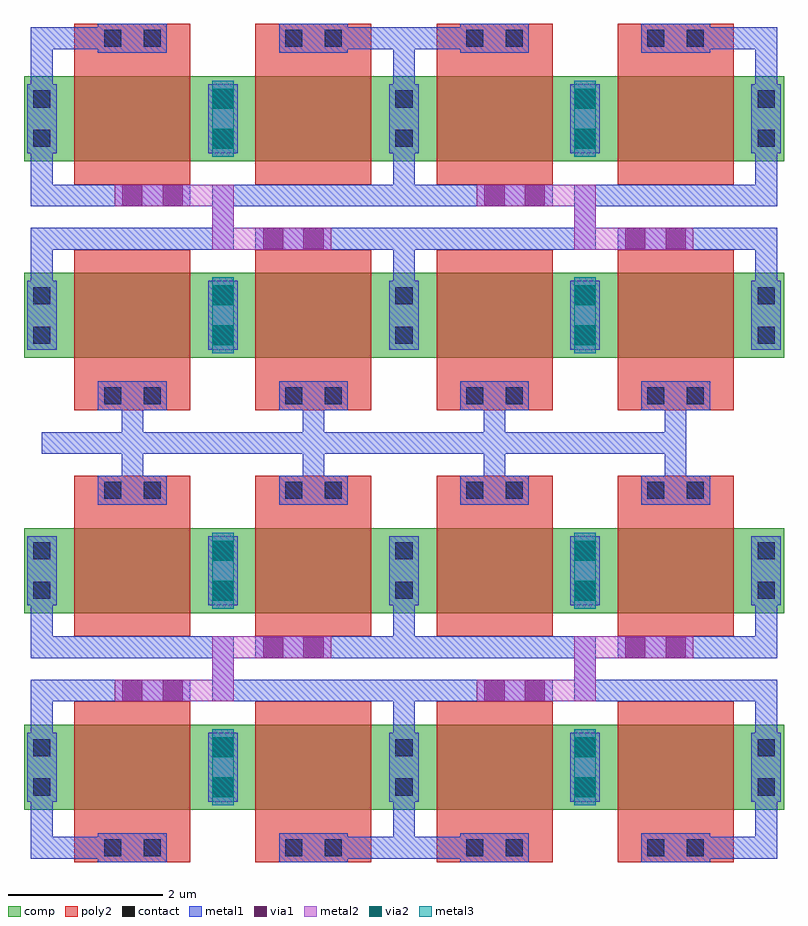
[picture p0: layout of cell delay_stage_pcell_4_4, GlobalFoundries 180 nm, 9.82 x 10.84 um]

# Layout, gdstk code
from math import pi, radians
import gdstk
lib = gdstk.Library(unit=1e-6, precision=5e-09)
def R(c, l, rs):  # rectangles x0, y0, x1, y1
    for r in rs: c.add(gdstk.rectangle(r[:2], r[2:], *l))
comp = (22, 0)
poly2 = (30, 0)
contact = (33, 0)
metal1 = (34, 0)
via1 = (35, 0)
metal2 = (36, 0)
via2 = (38, 0)
metal3 = (42, 0)

delay_stage_pcell_1_2 = lib.new_cell('delay_stage_pcell_1$2')
R(delay_stage_pcell_1_2, comp, [(0.17,0.3,0.63,1.4), (0.63,0.3,2.51,1.4), (2.51,0.3,2.97,1.4)])
R(delay_stage_pcell_1_2, poly2, [(0.82,0,2.32,1.7)])
R(delay_stage_pcell_1_2, contact, [(0.29,0.485,0.51,0.705), (2.63,0.485,2.85,0.705), (0.29,0.995,0.51,1.215), (2.63,0.995,2.85,1.215)])
R(delay_stage_pcell_1_2, metal1, [(0.21,0.405,0.59,1.295), (2.55,0.405,2.93,1.295)])

delay_stage_pcell_4 = lib.new_cell('delay_stage_pcell_4')
delay_stage_pcell_4.add(gdstk.Reference(delay_stage_pcell_1_2, (-0.17,0)))
delay_stage_pcell_4.add(gdstk.Reference(delay_stage_pcell_1_2, (2.17,0)))
delay_stage_pcell_4.add(gdstk.Reference(delay_stage_pcell_1_2, (4.51,0)))
delay_stage_pcell_4.add(gdstk.Reference(delay_stage_pcell_1_2, (6.85,0)))

delay_stage_pcell_4_4 = lib.new_cell('delay_stage_pcell_4_4')
R(delay_stage_pcell_4_4, poly2, [(0.65,0,2.15,0.38), (0.65,0,2.15,0.38), (2.99,0,4.49,0.38), (2.99,0,4.49,0.38), (5.33,0,6.83,0.38), (5.33,0,6.83,0.38), (7.67,0,9.17,0.38), (7.67,0,9.17,0.38), (0.65,4.62,2.15,5), (0.65,4.62,2.15,5), (2.99,4.62,4.49,5), (2.99,4.62,4.49,5), (5.33,4.62,6.83,5), (5.33,4.62,6.83,5), (7.67,4.62,9.17,5), (7.67,4.62,9.17,5), (0.65,5.84,2.15,6.22), (0.65,5.84,2.15,6.22), (2.99,5.84,4.49,6.22), (2.99,5.84,4.49,6.22), (5.33,5.84,6.83,6.22), (5.33,5.84,6.83,6.22), (7.67,5.84,9.17,6.22), (7.67,5.84,9.17,6.22), (0.65,10.46,2.15,10.84), (0.65,10.46,2.15,10.84), (2.99,10.46,4.49,10.84), (2.99,10.46,4.49,10.84), (5.33,10.46,6.83,10.84), (5.33,10.46,6.83,10.84), (7.67,10.46,9.17,10.84), (7.67,10.46,9.17,10.84)])
R(delay_stage_pcell_4_4, contact, [(1.035,0.08,1.255,0.3), (1.035,0.08,1.255,0.3), (1.545,0.08,1.765,0.3), (1.545,0.08,1.765,0.3), (3.375,0.08,3.595,0.3), (3.375,0.08,3.595,0.3), (3.885,0.08,4.105,0.3), (3.885,0.08,4.105,0.3), (5.715,0.08,5.935,0.3), (5.715,0.08,5.935,0.3), (6.225,0.08,6.445,0.3), (6.225,0.08,6.445,0.3), (8.055,0.08,8.275,0.3), (8.055,0.08,8.275,0.3), (8.565,0.08,8.785,0.3), (8.565,0.08,8.785,0.3), (1.035,4.7,1.255,4.92), (1.035,4.7,1.255,4.92), (1.545,4.7,1.765,4.92), (1.545,4.7,1.765,4.92), (3.375,4.7,3.595,4.92), (3.375,4.7,3.595,4.92), (3.885,4.7,4.105,4.92), (3.885,4.7,4.105,4.92), (5.715,4.7,5.935,4.92), (5.715,4.7,5.935,4.92), (6.225,4.7,6.445,4.92), (6.225,4.7,6.445,4.92), (8.055,4.7,8.275,4.92), (8.055,4.7,8.275,4.92), (8.565,4.7,8.785,4.92), (8.565,4.7,8.785,4.92), (1.035,5.92,1.255,6.14), (1.035,5.92,1.255,6.14), (1.545,5.92,1.765,6.14), (1.545,5.92,1.765,6.14), (3.375,5.92,3.595,6.14), (3.375,5.92,3.595,6.14), (3.885,5.92,4.105,6.14), (3.885,5.92,4.105,6.14), (5.715,5.92,5.935,6.14), (5.715,5.92,5.935,6.14), (6.225,5.92,6.445,6.14), (6.225,5.92,6.445,6.14), (8.055,5.92,8.275,6.14), (8.055,5.92,8.275,6.14), (8.565,5.92,8.785,6.14), (8.565,5.92,8.785,6.14), (1.035,10.54,1.255,10.76), (1.035,10.54,1.255,10.76), (1.545,10.54,1.765,10.76), (1.545,10.54,1.765,10.76), (3.375,10.54,3.595,10.76), (3.375,10.54,3.595,10.76), (3.885,10.54,4.105,10.76), (3.885,10.54,4.105,10.76), (5.715,10.54,5.935,10.76), (5.715,10.54,5.935,10.76), (6.225,10.54,6.445,10.76), (6.225,10.54,6.445,10.76), (8.055,10.54,8.275,10.76), (8.055,10.54,8.275,10.76), (8.565,10.54,8.785,10.76), (8.565,10.54,8.785,10.76)])
R(delay_stage_pcell_4_4, metal1, [(0.955,0,1.845,0.38), (3.295,0,4.185,0.38), (3.295,0,4.185,0.38), (5.635,0,6.525,0.38), (5.635,0,6.525,0.38), (7.975,0,8.865,0.38), (0.955,4.62,1.845,5), (0.955,4.62,1.845,5), (3.295,4.62,4.185,5), (3.295,4.62,4.185,5), (5.635,4.62,6.525,5), (5.635,4.62,6.525,5), (7.975,4.62,8.865,5), (0.955,5.84,1.845,6.22), (0.955,5.84,1.845,6.22), (3.295,5.84,4.185,6.22), (3.295,5.84,4.185,6.22), (5.635,5.84,6.525,6.22), (5.635,5.84,6.525,6.22), (7.975,5.84,8.865,6.22), (7.975,5.84,8.865,6.22), (0.955,10.46,1.845,10.84), (3.295,10.46,4.185,10.84), (3.295,10.46,4.185,10.84), (5.635,10.46,6.525,10.84), (5.635,10.46,6.525,10.84), (7.975,10.46,8.865,10.84)])
R(delay_stage_pcell_4_4, via1, [(2.44,0.84,2.7,1.1), (7.12,0.84,7.38,1.1), (2.44,1.36,2.7,1.62), (7.12,1.36,7.38,1.62), (1.27,2.09,1.53,2.35), (1.27,2.09,1.53,2.35), (1.79,2.09,2.05,2.35), (1.79,2.09,2.05,2.35), (5.95,2.09,6.21,2.35), (5.95,2.09,6.21,2.35), (6.47,2.09,6.73,2.35), (6.47,2.09,6.73,2.35), (3.09,2.65,3.35,2.91), (3.09,2.65,3.35,2.91), (3.61,2.65,3.87,2.91), (3.61,2.65,3.87,2.91), (7.77,2.65,8.03,2.91), (7.77,2.65,8.03,2.91), (8.29,2.65,8.55,2.91), (8.29,2.65,8.55,2.91), (2.44,3.38,2.7,3.64), (7.12,3.38,7.38,3.64), (2.44,3.9,2.7,4.16), (7.12,3.9,7.38,4.16), (2.44,6.68,2.7,6.94), (7.12,6.68,7.38,6.94), (2.44,7.2,2.7,7.46), (7.12,7.2,7.38,7.46), (3.09,7.93,3.35,8.19), (3.09,7.93,3.35,8.19), (3.61,7.93,3.87,8.19), (3.61,7.93,3.87,8.19), (7.77,7.93,8.03,8.19), (7.77,7.93,8.03,8.19), (8.29,7.93,8.55,8.19), (8.29,7.93,8.55,8.19), (1.27,8.49,1.53,8.75), (1.27,8.49,1.53,8.75), (1.79,8.49,2.05,8.75), (1.79,8.49,2.05,8.75), (5.95,8.49,6.21,8.75), (5.95,8.49,6.21,8.75), (6.47,8.49,6.73,8.75), (6.47,8.49,6.73,8.75), (2.44,9.22,2.7,9.48), (7.12,9.22,7.38,9.48), (2.44,9.74,2.7,10), (7.12,9.74,7.38,10)])
R(delay_stage_pcell_4_4, via2, [(2.44,0.84,2.7,1.1), (7.12,0.84,7.38,1.1), (2.44,1.36,2.7,1.62), (7.12,1.36,7.38,1.62), (2.44,3.38,2.7,3.64), (7.12,3.38,7.38,3.64), (2.44,3.9,2.7,4.16), (7.12,3.9,7.38,4.16), (2.44,6.68,2.7,6.94), (7.12,6.68,7.38,6.94), (2.44,7.2,2.7,7.46), (7.12,7.2,7.38,7.46), (2.44,9.22,2.7,9.48), (7.12,9.22,7.38,9.48), (2.44,9.74,2.7,10), (7.12,9.74,7.38,10)])
delay_stage_pcell_4_4.add(gdstk.FlexPath([(8.56,5.42),(0.23,5.42)], 0.28, ends="flush", simple_path=True, layer=34, datatype=0))  # metal1
delay_stage_pcell_4_4.add(gdstk.FlexPath([(4.185,10.65),(5.635,10.65)], 0.28, ends="flush", simple_path=True, layer=34, datatype=0))  # metal1
delay_stage_pcell_4_4.add(gdstk.FlexPath([(4.91,10.055),(4.91,10.51)], 0.28, ends="flush", simple_path=True, layer=34, datatype=0))  # metal1
delay_stage_pcell_4_4.add(gdstk.FlexPath([(0.955,10.65),(0.23,10.65),(0.23,10.055)], 0.28, ends="flush", simple_path=True, layer=34, datatype=0))  # metal1
delay_stage_pcell_4_4.add(gdstk.FlexPath([(8.865,10.65),(9.59,10.65),(9.59,10.055)], 0.28, ends="flush", simple_path=True, layer=34, datatype=0))  # metal1
delay_stage_pcell_4_4.add(gdstk.FlexPath([(4.185,0.19),(5.635,0.19)], 0.28, ends="flush", simple_path=True, layer=34, datatype=0))  # metal1
delay_stage_pcell_4_4.add(gdstk.FlexPath([(4.91,0.785),(4.91,0.33)], 0.28, ends="flush", simple_path=True, layer=34, datatype=0))  # metal1
delay_stage_pcell_4_4.add(gdstk.FlexPath([(0.955,0.19),(0.23,0.19),(0.23,0.785)], 0.28, ends="flush", simple_path=True, layer=34, datatype=0))  # metal1
delay_stage_pcell_4_4.add(gdstk.FlexPath([(8.865,0.19),(9.59,0.19),(9.59,0.785)], 0.28, ends="flush", simple_path=True, layer=34, datatype=0))  # metal1
delay_stage_pcell_4_4.add(gdstk.FlexPath([(9.59,1.675),(9.59,2.22),(8.65,2.22)], 0.28, ends="flush", simple_path=True, layer=34, datatype=0))  # metal1
delay_stage_pcell_4_4.add(gdstk.FlexPath([(9.59,1.675),(9.59,2.22),(8.65,2.22)], 0.28, ends="flush", simple_path=True, layer=34, datatype=0))  # metal1
delay_stage_pcell_4_4.add(gdstk.FlexPath([(4.91,1.675),(4.91,2.08)], 0.28, ends="flush", simple_path=True, layer=34, datatype=0))  # metal1
delay_stage_pcell_4_4.add(gdstk.FlexPath([(4.91,1.675),(4.91,2.08)], 0.28, ends="flush", simple_path=True, layer=34, datatype=0))  # metal1
delay_stage_pcell_4_4.add(gdstk.FlexPath([(0.23,1.675),(0.23,2.22),(1.17,2.22)], 0.28, ends="flush", simple_path=True, layer=34, datatype=0))  # metal1
delay_stage_pcell_4_4.add(gdstk.FlexPath([(0.23,1.675),(0.23,2.22),(1.17,2.22)], 0.28, ends="flush", simple_path=True, layer=34, datatype=0))  # metal1
delay_stage_pcell_4_4.add(gdstk.FlexPath([(8.65,2.22),(7.25,2.22),(7.25,2.78),(5.85,2.78)], 0.28, ends="flush", simple_path=True, layer=34, datatype=0))  # metal1
delay_stage_pcell_4_4.add(gdstk.FlexPath([(8.65,2.22),(7.25,2.22),(7.25,2.78),(5.85,2.78)], 0.28, ends="flush", simple_path=True, layer=34, datatype=0))  # metal1
delay_stage_pcell_4_4.add(gdstk.FlexPath([(6.83,2.22),(5.85,2.22)], 0.28, ends="flush", simple_path=True, layer=34, datatype=0))  # metal1
delay_stage_pcell_4_4.add(gdstk.FlexPath([(6.83,2.22),(5.85,2.22)], 0.28, ends="flush", simple_path=True, layer=34, datatype=0))  # metal1
delay_stage_pcell_4_4.add(gdstk.FlexPath([(3.97,2.22),(5.85,2.22)], 0.28, ends="flush", simple_path=True, layer=34, datatype=0))  # metal1
delay_stage_pcell_4_4.add(gdstk.FlexPath([(3.97,2.22),(5.85,2.22)], 0.28, ends="flush", simple_path=True, layer=34, datatype=0))  # metal1
delay_stage_pcell_4_4.add(gdstk.FlexPath([(3.97,2.22),(2.57,2.22),(2.57,2.78),(1.17,2.78)], 0.28, ends="flush", simple_path=True, layer=34, datatype=0))  # metal1
delay_stage_pcell_4_4.add(gdstk.FlexPath([(3.97,2.22),(2.57,2.22),(2.57,2.78),(1.17,2.78)], 0.28, ends="flush", simple_path=True, layer=34, datatype=0))  # metal1
delay_stage_pcell_4_4.add(gdstk.FlexPath([(2.15,2.22),(1.17,2.22)], 0.28, ends="flush", simple_path=True, layer=34, datatype=0))  # metal1
delay_stage_pcell_4_4.add(gdstk.FlexPath([(2.15,2.22),(1.17,2.22)], 0.28, ends="flush", simple_path=True, layer=34, datatype=0))  # metal1
delay_stage_pcell_4_4.add(gdstk.FlexPath([(8.65,2.78),(7.67,2.78)], 0.28, ends="flush", simple_path=True, layer=34, datatype=0))  # metal1
delay_stage_pcell_4_4.add(gdstk.FlexPath([(8.65,2.78),(7.67,2.78)], 0.28, ends="flush", simple_path=True, layer=34, datatype=0))  # metal1
delay_stage_pcell_4_4.add(gdstk.FlexPath([(3.97,2.78),(5.85,2.78)], 0.28, ends="flush", simple_path=True, layer=34, datatype=0))  # metal1
delay_stage_pcell_4_4.add(gdstk.FlexPath([(3.97,2.78),(5.85,2.78)], 0.28, ends="flush", simple_path=True, layer=34, datatype=0))  # metal1
delay_stage_pcell_4_4.add(gdstk.FlexPath([(3.97,2.78),(2.99,2.78)], 0.28, ends="flush", simple_path=True, layer=34, datatype=0))  # metal1
delay_stage_pcell_4_4.add(gdstk.FlexPath([(3.97,2.78),(2.99,2.78)], 0.28, ends="flush", simple_path=True, layer=34, datatype=0))  # metal1
delay_stage_pcell_4_4.add(gdstk.FlexPath([(1.17,2.78),(0.23,2.78),(0.23,3.325)], 0.28, ends="flush", simple_path=True, layer=34, datatype=0))  # metal1
delay_stage_pcell_4_4.add(gdstk.FlexPath([(1.17,2.78),(0.23,2.78),(0.23,3.325)], 0.28, ends="flush", simple_path=True, layer=34, datatype=0))  # metal1
delay_stage_pcell_4_4.add(gdstk.FlexPath([(9.59,3.325),(9.59,2.78),(8.65,2.78)], 0.28, ends="flush", simple_path=True, layer=34, datatype=0))  # metal1
delay_stage_pcell_4_4.add(gdstk.FlexPath([(9.59,3.325),(9.59,2.78),(8.65,2.78)], 0.28, ends="flush", simple_path=True, layer=34, datatype=0))  # metal1
delay_stage_pcell_4_4.add(gdstk.FlexPath([(4.91,3.325),(4.91,2.92)], 0.28, ends="flush", simple_path=True, layer=34, datatype=0))  # metal1
delay_stage_pcell_4_4.add(gdstk.FlexPath([(4.91,3.325),(4.91,2.92)], 0.28, ends="flush", simple_path=True, layer=34, datatype=0))  # metal1
delay_stage_pcell_4_4.add(gdstk.FlexPath([(9.59,7.515),(9.59,8.06),(8.65,8.06)], 0.28, ends="flush", simple_path=True, layer=34, datatype=0))  # metal1
delay_stage_pcell_4_4.add(gdstk.FlexPath([(9.59,9.165),(9.59,8.62),(8.65,8.62)], 0.28, ends="flush", simple_path=True, layer=34, datatype=0))  # metal1
delay_stage_pcell_4_4.add(gdstk.FlexPath([(4.91,9.165),(4.91,8.76)], 0.28, ends="flush", simple_path=True, layer=34, datatype=0))  # metal1
delay_stage_pcell_4_4.add(gdstk.FlexPath([(4.91,7.515),(4.91,7.92)], 0.28, ends="flush", simple_path=True, layer=34, datatype=0))  # metal1
delay_stage_pcell_4_4.add(gdstk.FlexPath([(1.17,8.06),(0.23,8.06),(0.23,7.515)], 0.28, ends="flush", simple_path=True, layer=34, datatype=0))  # metal1
delay_stage_pcell_4_4.add(gdstk.FlexPath([(0.23,9.165),(0.23,8.62),(1.17,8.62)], 0.28, ends="flush", simple_path=True, layer=34, datatype=0))  # metal1
delay_stage_pcell_4_4.add(gdstk.FlexPath([(8.65,8.62),(7.25,8.62),(7.25,8.06),(5.85,8.06)], 0.28, ends="flush", simple_path=True, layer=34, datatype=0))  # metal1
delay_stage_pcell_4_4.add(gdstk.FlexPath([(3.97,8.62),(2.57,8.62),(2.57,8.06),(1.17,8.06)], 0.28, ends="flush", simple_path=True, layer=34, datatype=0))  # metal1
delay_stage_pcell_4_4.add(gdstk.FlexPath([(2.15,8.62),(1.17,8.62)], 0.28, ends="flush", simple_path=True, layer=34, datatype=0))  # metal1
delay_stage_pcell_4_4.add(gdstk.FlexPath([(3.97,8.06),(2.99,8.06)], 0.28, ends="flush", simple_path=True, layer=34, datatype=0))  # metal1
delay_stage_pcell_4_4.add(gdstk.FlexPath([(8.65,8.06),(7.67,8.06)], 0.28, ends="flush", simple_path=True, layer=34, datatype=0))  # metal1
delay_stage_pcell_4_4.add(gdstk.FlexPath([(6.83,8.62),(5.85,8.62)], 0.28, ends="flush", simple_path=True, layer=34, datatype=0))  # metal1
delay_stage_pcell_4_4.add(gdstk.FlexPath([(3.97,8.62),(5.85,8.62)], 0.28, ends="flush", simple_path=True, layer=34, datatype=0))  # metal1
delay_stage_pcell_4_4.add(gdstk.FlexPath([(3.97,8.06),(5.85,8.06)], 0.28, ends="flush", simple_path=True, layer=34, datatype=0))  # metal1
delay_stage_pcell_4_4.add(gdstk.FlexPath([(3.97,8.06),(5.85,8.06)], 0.28, ends="flush", simple_path=True, layer=34, datatype=0))  # metal1
delay_stage_pcell_4_4.add(gdstk.FlexPath([(3.97,8.62),(5.85,8.62)], 0.28, ends="flush", simple_path=True, layer=34, datatype=0))  # metal1
delay_stage_pcell_4_4.add(gdstk.FlexPath([(6.83,8.62),(5.85,8.62)], 0.28, ends="flush", simple_path=True, layer=34, datatype=0))  # metal1
delay_stage_pcell_4_4.add(gdstk.FlexPath([(8.65,8.06),(7.67,8.06)], 0.28, ends="flush", simple_path=True, layer=34, datatype=0))  # metal1
delay_stage_pcell_4_4.add(gdstk.FlexPath([(3.97,8.06),(2.99,8.06)], 0.28, ends="flush", simple_path=True, layer=34, datatype=0))  # metal1
delay_stage_pcell_4_4.add(gdstk.FlexPath([(2.15,8.62),(1.17,8.62)], 0.28, ends="flush", simple_path=True, layer=34, datatype=0))  # metal1
delay_stage_pcell_4_4.add(gdstk.FlexPath([(3.97,8.62),(2.57,8.62),(2.57,8.06),(1.17,8.06)], 0.28, ends="flush", simple_path=True, layer=34, datatype=0))  # metal1
delay_stage_pcell_4_4.add(gdstk.FlexPath([(8.65,8.62),(7.25,8.62),(7.25,8.06),(5.85,8.06)], 0.28, ends="flush", simple_path=True, layer=34, datatype=0))  # metal1
delay_stage_pcell_4_4.add(gdstk.FlexPath([(0.23,9.165),(0.23,8.62),(1.17,8.62)], 0.28, ends="flush", simple_path=True, layer=34, datatype=0))  # metal1
delay_stage_pcell_4_4.add(gdstk.FlexPath([(1.17,8.06),(0.23,8.06),(0.23,7.515)], 0.28, ends="flush", simple_path=True, layer=34, datatype=0))  # metal1
delay_stage_pcell_4_4.add(gdstk.FlexPath([(4.91,7.515),(4.91,7.92)], 0.28, ends="flush", simple_path=True, layer=34, datatype=0))  # metal1
delay_stage_pcell_4_4.add(gdstk.FlexPath([(4.91,9.165),(4.91,8.76)], 0.28, ends="flush", simple_path=True, layer=34, datatype=0))  # metal1
delay_stage_pcell_4_4.add(gdstk.FlexPath([(9.59,9.165),(9.59,8.62),(8.65,8.62)], 0.28, ends="flush", simple_path=True, layer=34, datatype=0))  # metal1
delay_stage_pcell_4_4.add(gdstk.FlexPath([(9.59,7.515),(9.59,8.06),(8.65,8.06)], 0.28, ends="flush", simple_path=True, layer=34, datatype=0))  # metal1
delay_stage_pcell_4_4.add(gdstk.FlexPath([(8.42,5),(8.42,5.28)], 0.28, ends="flush", simple_path=True, layer=34, datatype=0))  # metal1
delay_stage_pcell_4_4.add(gdstk.FlexPath([(8.42,5.84),(8.42,5.56)], 0.28, ends="flush", simple_path=True, layer=34, datatype=0))  # metal1
delay_stage_pcell_4_4.add(gdstk.FlexPath([(6.08,5),(6.08,5.28)], 0.28, ends="flush", simple_path=True, layer=34, datatype=0))  # metal1
delay_stage_pcell_4_4.add(gdstk.FlexPath([(6.08,5.84),(6.08,5.56)], 0.28, ends="flush", simple_path=True, layer=34, datatype=0))  # metal1
delay_stage_pcell_4_4.add(gdstk.FlexPath([(3.74,5),(3.74,5.28)], 0.28, ends="flush", simple_path=True, layer=34, datatype=0))  # metal1
delay_stage_pcell_4_4.add(gdstk.FlexPath([(3.74,5.84),(3.74,5.56)], 0.28, ends="flush", simple_path=True, layer=34, datatype=0))  # metal1
delay_stage_pcell_4_4.add(gdstk.FlexPath([(1.4,5),(1.4,5.28)], 0.28, ends="flush", simple_path=True, layer=34, datatype=0))  # metal1
delay_stage_pcell_4_4.add(gdstk.FlexPath([(1.4,5.84),(1.4,5.56)], 0.28, ends="flush", simple_path=True, layer=34, datatype=0))  # metal1
delay_stage_pcell_4_4.add(gdstk.FlexPath([(8.65,2.78),(7.25,2.78),(7.25,2.22),(5.85,2.22)], 0.28, ends="flush", simple_path=True, layer=36, datatype=0))  # metal2
delay_stage_pcell_4_4.add(gdstk.FlexPath([(8.65,2.78),(7.25,2.78),(7.25,2.22),(5.85,2.22)], 0.28, ends="flush", simple_path=True, layer=36, datatype=0))  # metal2
delay_stage_pcell_4_4.add(gdstk.FlexPath([(3.97,2.78),(2.57,2.78),(2.57,2.22),(1.17,2.22)], 0.28, ends="flush", simple_path=True, layer=36, datatype=0))  # metal2
delay_stage_pcell_4_4.add(gdstk.FlexPath([(3.97,2.78),(2.57,2.78),(2.57,2.22),(1.17,2.22)], 0.28, ends="flush", simple_path=True, layer=36, datatype=0))  # metal2
delay_stage_pcell_4_4.add(gdstk.FlexPath([(3.97,8.06),(2.57,8.06),(2.57,8.62),(1.17,8.62)], 0.28, ends="flush", simple_path=True, layer=36, datatype=0))  # metal2
delay_stage_pcell_4_4.add(gdstk.FlexPath([(8.65,8.06),(7.25,8.06),(7.25,8.62),(5.85,8.62)], 0.28, ends="flush", simple_path=True, layer=36, datatype=0))  # metal2
delay_stage_pcell_4_4.add(gdstk.FlexPath([(8.65,8.06),(7.25,8.06),(7.25,8.62),(5.85,8.62)], 0.28, ends="flush", simple_path=True, layer=36, datatype=0))  # metal2
delay_stage_pcell_4_4.add(gdstk.FlexPath([(3.97,8.06),(2.57,8.06),(2.57,8.62),(1.17,8.62)], 0.28, ends="flush", simple_path=True, layer=36, datatype=0))  # metal2
delay_stage_pcell_4_4.add(gdstk.FlexPath([(7.25,6.58),(7.25,7.56)], 0.28, ends="flush", simple_path=True, layer=36, datatype=0))  # metal2
delay_stage_pcell_4_4.add(gdstk.FlexPath([(7.25,9.12),(7.25,10.1)], 0.28, ends="flush", simple_path=True, layer=36, datatype=0))  # metal2
delay_stage_pcell_4_4.add(gdstk.FlexPath([(2.57,6.58),(2.57,7.56)], 0.28, ends="flush", simple_path=True, layer=36, datatype=0))  # metal2
delay_stage_pcell_4_4.add(gdstk.FlexPath([(7.25,3.28),(7.25,4.26)], 0.28, ends="flush", simple_path=True, layer=36, datatype=0))  # metal2
delay_stage_pcell_4_4.add(gdstk.FlexPath([(2.57,3.28),(2.57,4.26)], 0.28, ends="flush", simple_path=True, layer=36, datatype=0))  # metal2
delay_stage_pcell_4_4.add(gdstk.FlexPath([(7.25,0.74),(7.25,1.72)], 0.28, ends="flush", simple_path=True, layer=36, datatype=0))  # metal2
delay_stage_pcell_4_4.add(gdstk.FlexPath([(2.57,0.74),(2.57,1.72)], 0.28, ends="flush", simple_path=True, layer=36, datatype=0))  # metal2
delay_stage_pcell_4_4.add(gdstk.FlexPath([(2.57,9.12),(2.57,10.1)], 0.28, ends="flush", simple_path=True, layer=36, datatype=0))  # metal2
delay_stage_pcell_4_4.add(gdstk.FlexPath([(7.25,6.58),(7.25,7.56)], 0.28, ends="flush", simple_path=True, layer=42, datatype=0))  # metal3
delay_stage_pcell_4_4.add(gdstk.FlexPath([(7.25,9.12),(7.25,10.1)], 0.28, ends="flush", simple_path=True, layer=42, datatype=0))  # metal3
delay_stage_pcell_4_4.add(gdstk.FlexPath([(2.57,6.58),(2.57,7.56)], 0.28, ends="flush", simple_path=True, layer=42, datatype=0))  # metal3
delay_stage_pcell_4_4.add(gdstk.FlexPath([(7.25,3.28),(7.25,4.26)], 0.28, ends="flush", simple_path=True, layer=42, datatype=0))  # metal3
delay_stage_pcell_4_4.add(gdstk.FlexPath([(2.57,3.28),(2.57,4.26)], 0.28, ends="flush", simple_path=True, layer=42, datatype=0))  # metal3
delay_stage_pcell_4_4.add(gdstk.FlexPath([(7.25,0.74),(7.25,1.72)], 0.28, ends="flush", simple_path=True, layer=42, datatype=0))  # metal3
delay_stage_pcell_4_4.add(gdstk.FlexPath([(2.57,0.74),(2.57,1.72)], 0.28, ends="flush", simple_path=True, layer=42, datatype=0))  # metal3
delay_stage_pcell_4_4.add(gdstk.FlexPath([(2.57,9.12),(2.57,10.1)], 0.28, ends="flush", simple_path=True, layer=42, datatype=0))  # metal3
delay_stage_pcell_4_4.add(gdstk.Reference(delay_stage_pcell_4, (9.82,7.92), rotation=pi))
delay_stage_pcell_4_4.add(gdstk.Reference(delay_stage_pcell_4, (9.82,8.76), rotation=pi, x_reflection=True))
delay_stage_pcell_4_4.add(gdstk.Reference(delay_stage_pcell_4, (9.82,2.08), rotation=pi))
delay_stage_pcell_4_4.add(gdstk.Reference(delay_stage_pcell_4, (9.82,2.92), rotation=pi, x_reflection=True))

lib.write_gds('delay_stage_pcell_4_4.gds')
